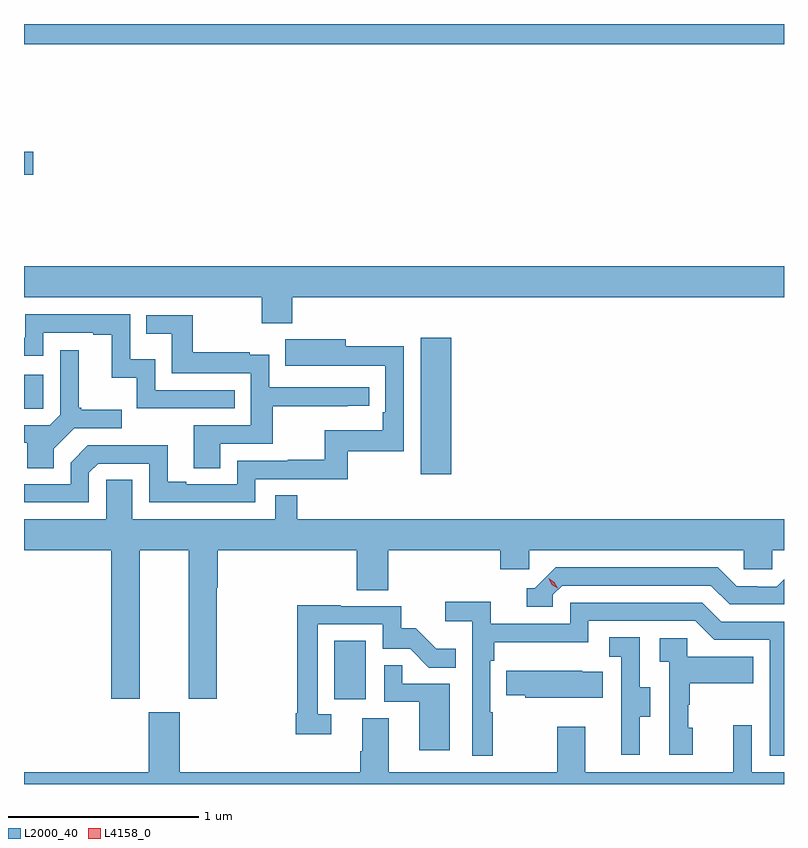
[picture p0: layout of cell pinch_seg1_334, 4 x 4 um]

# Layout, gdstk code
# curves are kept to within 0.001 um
import gdstk
lib = gdstk.Library(unit=1e-6, precision=1e-09)
def R(c, l, rs):  # rectangles x0, y0, x1, y1
    for r in rs: c.add(gdstk.rectangle(r[:2], r[2:], *l))
def P(c, l, *ps):  # polygons
    for p in ps: c.add(gdstk.Polygon(p, *l))
L2000_40 = (2000, 40)
L4158_0 = (4158, 0)

pinch_seg1_334 = lib.new_cell('pinch_seg1_334')
R(pinch_seg1_334, L2000_40, [(970.07,558.942,970.234,559.249), (970.523,560.124,970.684,560.845), (968.436,560.469,968.538,560.649), (968.436,561.701,968.485,561.823), (968.436,562.388,972.436,562.495)])
P(pinch_seg1_334, L2000_40, [(969.848,561.056),(972.436,561.056),(972.436,561.22),(968.436,561.22),(968.436,561.056),(969.688,561.056),(969.688,560.921),(969.848,560.921)],
  [(969.545,560.568),(969.126,560.568),(969.126,560.731),(968.994,560.731),(968.994,560.967),(968.442,560.967),(968.442,560.844),(968.436,560.844),(968.436,560.748),(968.538,560.748),(968.538,560.871),(968.801,560.871),(968.801,560.859),(968.897,560.859),(968.897,560.633),(969.03,560.633),(969.03,560.472),(969.545,560.472)],
  [(969.469,560.286),(969.746,560.286),(969.746,560.482),(970.139,560.482),(970.139,560.487),(970.252,560.487),(970.252,560.583),(969.726,560.583),(969.726,560.755),(969.623,560.755),(969.623,560.767),(969.325,560.767),(969.325,560.961),(969.079,560.961),(969.079,560.864),(969.214,560.864),(969.214,560.658),(969.63,560.658),(969.63,560.382),(969.329,560.382),(969.329,560.158),(969.469,560.158)],
  [(968.778,560.133),(968.826,560.181),(969.096,560.181),(969.096,559.977),(969.654,559.977),(969.654,560.1),(970.141,560.1),(970.141,560.247),(970.434,560.247),(970.434,560.798),(970.129,560.798),(970.129,560.836),(969.811,560.836),(969.811,560.696),(970.338,560.697),(970.338,560.452),(970.325,560.452),(970.325,560.356),(970.02,560.356),(970.02,560.201),(969.823,560.201),(969.823,560.196),(969.558,560.196),(969.558,560.073),(969.289,560.073),(969.289,560.086),(969.193,560.086),(969.193,560.279),(968.988,560.279),(968.988,560.277),(968.772,560.277),(968.682,560.187),(968.682,560.073),(968.436,560.073),(968.436,559.977),(968.778,559.977)],
  [(968.593,560.26),(968.7,560.367),(968.95,560.367),(968.95,560.464),(968.737,560.464),(968.737,560.476),(968.725,560.476),(968.725,560.779),(968.628,560.779),(968.628,560.439),(968.571,560.382),(968.436,560.382),(968.436,560.29),(968.453,560.29),(968.453,560.158),(968.593,560.158)],
  [(969.046,559.724),(969.302,559.724),(969.302,558.945),(969.45,558.945),(969.45,559.528),(969.455,559.528),(969.455,559.724),(970.187,559.724),(970.187,559.516),(970.352,559.516),(970.352,559.724),(970.943,559.724),(970.943,559.626),(971.094,559.626),(971.094,559.724),(972.225,559.724),(972.225,559.626),(972.375,559.626),(972.375,559.724),(972.436,559.724),(972.436,559.888),(969.875,559.888),(969.875,560.015),(969.759,560.015),(969.759,559.888),(969.007,559.888),(969.007,560.096),(968.868,560.096),(968.868,559.888),(968.436,559.888),(968.436,559.724),(968.894,559.724),(968.894,558.945),(969.046,558.945)],
  [(971.22,559.491),(971.268,559.539),(972.051,559.539),(972.15,559.44),(972.436,559.44),(972.436,559.573),(972.397,559.533),(972.294,559.533),(972.294,559.536),(972.187,559.536),(972.088,559.635),(971.235,559.635),(971.124,559.524),(971.081,559.524),(971.081,559.428),(971.22,559.428)],
  [(970.903,558.872),(970.89,558.872),(970.89,559.145),(970.91,559.145),(970.91,559.241),(971.406,559.241),(971.406,559.353),(971.97,559.353),(972.069,559.254),(972.36,559.254),(972.36,558.645),(972.436,558.645),(972.436,559.35),(972.106,559.35),(972.007,559.449),(971.31,559.449),(971.31,559.338),(970.892,559.338),(970.892,559.454),(970.653,559.454),(970.653,559.352),(970.794,559.352),(970.794,558.645),(970.903,558.645)],
  [(970.054,558.861),(969.981,558.861),(969.981,559.335),(970.323,559.335),(970.323,559.206),(970.468,559.206),(970.566,559.108),(970.709,559.108),(970.709,559.207),(970.605,559.207),(970.498,559.314),(970.422,559.314),(970.422,559.431),(970.103,559.431),(970.103,559.436),(969.873,559.436),(969.873,558.868),(969.865,558.868),(969.865,558.756),(970.054,558.756)],
  [(971.677,558.85),(971.731,558.85),(971.731,559.005),(971.676,559.005),(971.676,559.268),(971.517,559.268),(971.517,559.165),(971.58,559.165),(971.58,558.861),(971.579,558.861),(971.579,558.648),(971.677,558.648)],
  [(971.956,558.792),(971.931,558.792),(971.931,558.911),(971.941,558.911),(971.941,559.025),(972.275,559.025),(972.275,559.165),(971.928,559.165),(971.928,559.263),(971.781,559.263),(971.781,559.139),(971.832,559.139),(971.832,558.648),(971.956,558.648)],
  [(970.678,559.023),(970.427,559.023),(970.427,559.121),(970.332,559.121),(970.332,558.927),(970.517,558.927),(970.517,558.672),(970.678,558.672)],
  [(971.483,559.087),(971.375,559.087),(971.375,559.09),(970.975,559.09),(970.975,558.961),(971.073,558.961),(971.073,558.95),(971.483,558.95)],
  [(972.436,558.556),(972.267,558.556),(972.267,558.805),(972.17,558.805),(972.17,558.556),(971.389,558.556),(971.389,558.796),(971.242,558.796),(971.242,558.556),(970.357,558.556),(970.357,558.842),(970.217,558.842),(970.217,558.668),(970.205,558.668),(970.205,558.556),(969.256,558.556),(969.256,558.873),(969.092,558.873),(969.092,558.556),(968.436,558.556),(968.436,558.495),(972.436,558.495)])
P(pinch_seg1_334, L4158_0, [(971.244,559.525),(971.213,559.544),(971.197,559.577),(971.197,559.577),(971.197,559.577),(971.228,559.558),(971.244,559.526),(971.244,559.525)])

lib.write_gds('pinch_seg1_334.gds')
